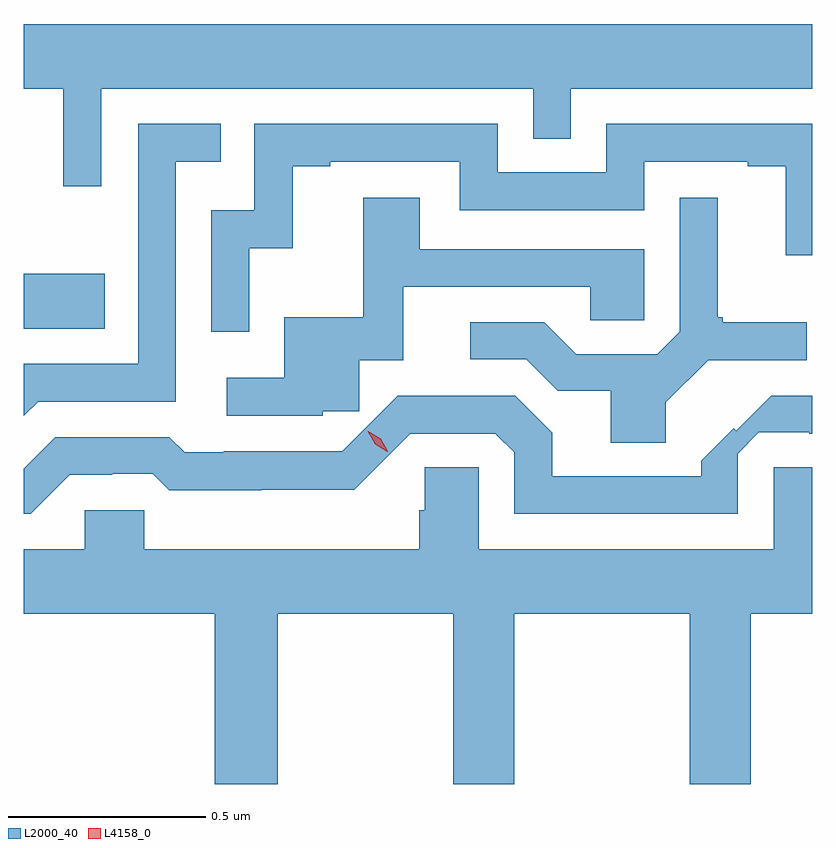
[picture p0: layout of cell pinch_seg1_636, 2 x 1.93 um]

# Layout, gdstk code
import gdstk
lib = gdstk.Library(unit=1e-6, precision=1e-09)
def R(c, l, rs):  # rectangles x0, y0, x1, y1
    for r in rs: c.add(gdstk.rectangle(r[:2], r[2:], *l))
def P(c, l, *ps):  # polygons
    for p in ps: c.add(gdstk.Polygon(p, *l))
L2000_40 = (2000, 40)
L4158_0 = (4158, 0)

pinch_seg1_636 = lib.new_cell('pinch_seg1_636')
R(pinch_seg1_636, L2000_40, [(1136.35,509.831,1136.555,509.971)])
P(pinch_seg1_636, L2000_40, [(1136.547,510.44),(1137.642,510.44),(1137.642,510.313),(1137.738,510.313),(1137.738,510.44),(1138.35,510.44),(1138.35,510.604),(1136.35,510.604),(1136.35,510.44),(1136.45,510.44),(1136.45,510.192),(1136.547,510.192)],
  [(1136.922,510.035),(1137.032,510.035),(1137.032,510.243),(1137.127,510.243),(1137.127,510.255),(1137.456,510.255),(1137.456,510.132),(1137.924,510.132),(1137.924,510.255),(1138.187,510.255),(1138.187,510.243),(1138.283,510.243),(1138.283,510.017),(1138.35,510.017),(1138.35,510.351),(1137.828,510.351),(1137.828,510.228),(1137.552,510.228),(1137.552,510.351),(1136.934,510.351),(1136.934,510.132),(1136.826,510.132),(1136.826,509.823),(1136.922,509.823)],
  [(1136.386,509.646),(1136.736,509.646),(1136.736,510.255),(1136.849,510.255),(1136.849,510.351),(1136.64,510.351),(1136.64,509.742),(1136.35,509.742),(1136.35,509.61)],
  [(1137.979,509.644),(1138.086,509.751),(1138.336,509.751),(1138.336,509.848),(1138.123,509.848),(1138.123,509.86),(1138.111,509.86),(1138.111,510.163),(1138.014,510.163),(1138.014,509.823),(1137.957,509.766),(1137.751,509.766),(1137.67,509.847),(1137.483,509.847),(1137.483,509.754),(1137.624,509.754),(1137.704,509.674),(1137.839,509.674),(1137.839,509.542),(1137.979,509.542)],
  [(1137.108,509.621),(1137.201,509.621),(1137.201,509.751),(1137.313,509.751),(1137.313,509.937),(1137.787,509.937),(1137.787,509.853),(1137.924,509.853),(1137.924,510.033),(1137.355,510.033),(1137.355,510.163),(1137.211,510.163),(1137.211,509.86),(1137.011,509.86),(1137.011,509.706),(1136.865,509.706),(1136.865,509.61),(1137.108,509.61)],
  [(1136.467,509.46),(1136.574,509.46),(1136.574,509.463),(1136.677,509.463),(1136.719,509.421),(1136.952,509.421),(1136.952,509.423),(1137.188,509.423),(1137.33,509.565),(1137.546,509.565),(1137.594,509.517),(1137.594,509.361),(1138.161,509.361),(1138.161,509.514),(1138.215,509.568),(1138.343,509.568),(1138.343,509.565),(1138.35,509.565),(1138.35,509.661),(1138.246,509.661),(1138.157,509.572),(1138.151,509.578),(1138.068,509.496),(1138.068,509.457),(1137.691,509.457),(1137.691,509.567),(1137.597,509.661),(1137.299,509.661),(1137.158,509.52),(1136.857,509.52),(1136.857,509.517),(1136.758,509.517),(1136.719,509.556),(1136.43,509.556),(1136.35,509.476),(1136.35,509.361),(1136.368,509.361)],
  [(1136.994,509.108),(1137.439,509.108),(1137.439,508.676),(1137.594,508.676),(1137.594,509.108),(1138.039,509.108),(1138.039,508.676),(1138.194,508.676),(1138.194,509.108),(1138.35,509.108),(1138.35,509.48),(1138.253,509.48),(1138.253,509.272),(1137.504,509.272),(1137.504,509.48),(1137.367,509.48),(1137.367,509.37),(1137.353,509.37),(1137.353,509.272),(1136.655,509.272),(1136.655,509.37),(1136.505,509.37),(1136.505,509.272),(1136.35,509.272),(1136.35,509.108),(1136.834,509.108),(1136.834,508.676),(1136.994,508.676)])
P(pinch_seg1_636, L4158_0, [(1137.272,509.519),(1137.241,509.538),(1137.223,509.571),(1137.223,509.571),(1137.224,509.571),(1137.255,509.552),(1137.273,509.52),(1137.273,509.519)])

lib.write_gds('pinch_seg1_636.gds')
